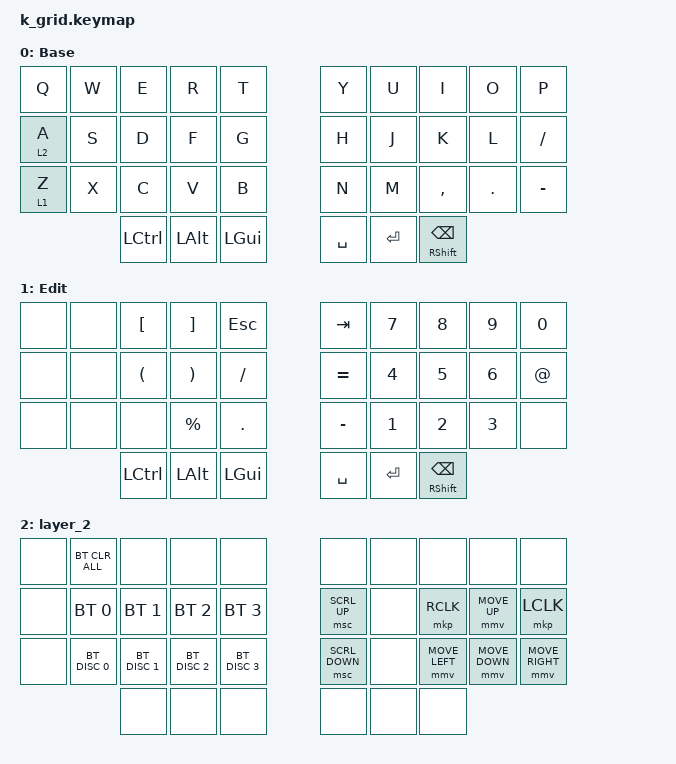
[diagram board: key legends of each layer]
#include <behaviors.dtsi>
#include <dt-bindings/zmk/bt.h>
#include <dt-bindings/zmk/keys.h>
#include <dt-bindings/zmk/pointing.h>

/ {
    combos {
        compatible = "zmk,combos";

        BS {
            bindings = <&kp BACKSPACE>;
            key-positions = <34 33>;
        };
    };

    keymap {
        compatible = "zmk,keymap";

        default_layer {
            display-name = "Base";
            bindings = <
&kp Q    &kp W  &kp E      &kp R     &kp T     &kp Y      &kp U      &kp I                      &kp O    &kp P
&lt 2 A  &kp S  &kp D      &kp F     &kp G     &kp H      &kp J      &kp K                      &kp L    &kp SLASH
&lt 1 Z  &kp X  &kp C      &kp V     &kp B     &kp N      &kp M      &kp COMMA                  &kp DOT  &kp MINUS
                &kp LCTRL  &kp LALT  &kp LGUI  &kp SPACE  &kp ENTER  &mt RIGHT_SHIFT BACKSPACE
            >;
        };

        layer_1 {
            display-name = "Edit";
            bindings = <
&none  &none  &kp LBKT   &kp RBKT     &kp ESC    &kp TAB    &kp N7     &kp N8                     &kp N9  &kp N0
&none  &none  &kp LPAR   &kp RPAR     &kp SLASH  &kp EQUAL  &kp N4     &kp N5                     &kp N6  &kp AT
&none  &none  &none      &kp PERCENT  &kp DOT    &kp MINUS  &kp N1     &kp N2                     &kp N3  &none
              &kp LCTRL  &kp LALT     &kp LGUI   &kp SPACE  &kp ENTER  &mt RIGHT_SHIFT BACKSPACE
            >;
        };

        layer_2 {
            bindings = <
&none  &bt BT_CLR_ALL  &none          &none          &none          &none           &none  &none           &none           &none
&none  &bt BT_SEL 0    &bt BT_SEL 1   &bt BT_SEL 2   &bt BT_SEL 3   &msc SCRL_UP    &none  &mkp RCLK       &mmv MOVE_UP    &mkp LCLK
&none  &bt BT_DISC 0   &bt BT_DISC 1  &bt BT_DISC 2  &bt BT_DISC 3  &msc SCRL_DOWN  &none  &mmv MOVE_LEFT  &mmv MOVE_DOWN  &mmv MOVE_RIGHT
                       &none          &none          &none          &none           &none  &none
            >;
        };
    };
};
